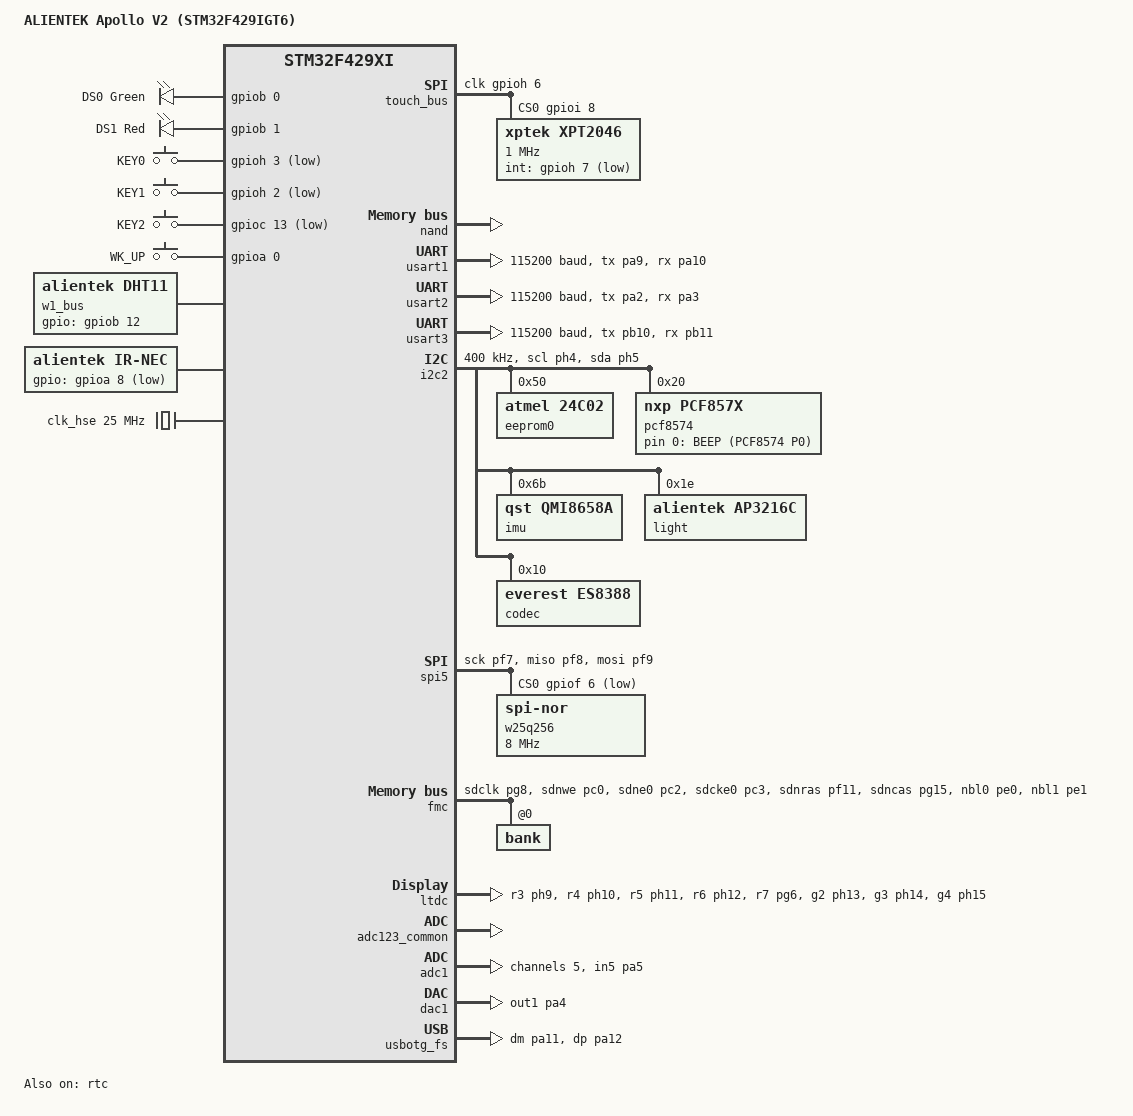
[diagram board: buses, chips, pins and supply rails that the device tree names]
/*
 * ALIENTEK Apollo V2 (阿波罗 V2) - STM32F429IGT6
 *
 * 引脚来源：docs/hardware/pinmap/阿波罗V2 STM32F429开发板IO引脚分配表.xlsx
 *            docs/hardware/sch/DNF429P_F767P_H743P V2.6.pdf（底板）
 *            docs/hardware/sch/STM32F429_CORE_V2.pdf（核心板）
 *
 * SPDX-License-Identifier: Apache-2.0
 */

/dts-v1/;

#include <st/f4/stm32f429Xi.dtsi>
#include <st/f4/stm32f429i(e-g)tx-pinctrl.dtsi>
#include <zephyr/dt-bindings/display/panel.h>
#include <zephyr/dt-bindings/input/input-event-codes.h>

/ {
	model = "ALIENTEK Apollo V2 (STM32F429IGT6)";
	compatible = "alientek,apollo-f429";

	chosen {
		zephyr,console = &usart1;
		zephyr,shell-uart = &usart1;
		zephyr,sram = &sram0;
		zephyr,flash = &flash0;
		zephyr,dtcm = &ccm0;
		zephyr,display = &ltdc;
		zephyr,touch = &xpt2046;
	};

	/* W9825G6KH：32MB，挂在 FMC SDRAM bank1（0xC0000000） */
	sdram1: sdram@c0000000 {
		compatible = "zephyr,memory-region", "mmio-sram";
		device_type = "memory";
		reg = <0xc0000000 DT_SIZE_M(32)>;
		zephyr,memory-region = "SDRAM1";
	};

	leds {
		compatible = "gpio-leds";

		green_led: led_0 {
			gpios = <&gpiob 0 GPIO_ACTIVE_HIGH>;
			label = "DS0 Green";
		};

		red_led: led_1 {
			gpios = <&gpiob 1 GPIO_ACTIVE_HIGH>;
			label = "DS1 Red";
		};
	};

	keys {
		compatible = "gpio-keys";

		key0: key_0 {
			label = "KEY0";
			gpios = <&gpioh 3 (GPIO_ACTIVE_LOW | GPIO_PULL_UP)>;
			zephyr,code = <INPUT_KEY_0>;
		};

		key1: key_1 {
			label = "KEY1";
			gpios = <&gpioh 2 (GPIO_ACTIVE_LOW | GPIO_PULL_UP)>;
			zephyr,code = <INPUT_KEY_1>;
		};

		key2: key_2 {
			label = "KEY2";
			gpios = <&gpioc 13 (GPIO_ACTIVE_LOW | GPIO_PULL_UP)>;
			zephyr,code = <INPUT_KEY_2>;
		};

		wkup: key_wkup {
			label = "WK_UP";
			gpios = <&gpioa 0 (GPIO_ACTIVE_HIGH | GPIO_PULL_DOWN)>;
			zephyr,code = <INPUT_KEY_WAKEUP>;
		};
	};

	aliases {
		led0 = &green_led;
		led1 = &red_led;
		sw0 = &key0;
		sw1 = &key1;
		sw2 = &key2;
		sw3 = &wkup;
	};

	/*
	 * 触摸：XPT2046（ATK-MD0430 / ATK-MD0700 模块原理图确认）
	 * T_SCK=PH6, T_MISO=PG3, T_MOSI=PI3, T_CS=PI8, T_PEN=PH7
	 * 这三个信号在 F429 上没有同一个硬件 SPI 复用，使用上游 spi-bitbang。
	 */
	touch_bus: spi-bitbang {
		compatible = "zephyr,spi-bitbang";
		status = "okay";
		clk-gpios = <&gpioh 6 GPIO_ACTIVE_HIGH>;
		sdi-gpios = <&gpiog 3 GPIO_ACTIVE_HIGH>;
		sdo-gpios = <&gpioi 3 GPIO_ACTIVE_HIGH>;
		cs-gpios = <&gpioi 8 GPIO_ACTIVE_HIGH>;
		#address-cells = <1>;
		#size-cells = <0>;

		xpt2046: xpt2046@0 {
			compatible = "xptek,xpt2046";
			reg = <0>;
			spi-max-frequency = <1000000>;
			int-gpios = <&gpioh 7 GPIO_ACTIVE_LOW>;
			touchscreen-size-x = <800>;
			touchscreen-size-y = <480>;
			min-x = <0>;
			min-y = <0>;
			max-x = <4095>;
			max-y = <4095>;
			z-threshold = <100>;
			reads = <4>;
		};
	};

	/*
	 * 8080 并口 TFTLCD：FMC bank1（NE1=PD7），RS=A18（PD13），D0..D15。
	 * 默认关闭：与本板 RGBLCD（LTDC）二选一；插 8080 模块时把 status 改 okay，
	 * 并把 chosen 的 zephyr,display 指向 &lcd8080。
	 */
	lcd8080: display@60000000 {
		compatible = "st,stm32-fmc-mipi-dbi";
		reg = <0x60000000 0x200000>;
		register-select-pin = <18>;
		#address-cells = <1>;
		#size-cells = <0>;
		status = "disabled";

		ili9341_8080: ili9341@0 {
			compatible = "ilitek,ili9341";
			reg = <0>;
			width = <240>;
			height = <320>;
			rotation = <0>;
			pixel-format = <PANEL_PIXEL_FORMAT_RGB_565>;
			/* 默认使用 LTDC 的 RGB 屏；8080 并口屏需手工改 status 并补 mipi 属性 */
			status = "disabled";
		};
	};
};

/* 1MB Flash（F429IGT6），非 2MB 的 XG 版本 */
&flash0 {
	reg = <0x08000000 DT_SIZE_K(1024)>;
	ranges = <0 0x08000000 DT_SIZE_K(1024)>;
};

/* 外部 25MHz 晶振（核心板 PH0/PH1） */
&clk_hse {
	clock-frequency = <DT_FREQ_M(25)>;
	status = "okay";
};

&clk_lsi {
	status = "okay";
};

/* HSE 25MHz -> PLL VCO 336MHz -> SYSCLK 168MHz / USB 48MHz */
&pll {
	div-m = <25>;
	mul-n = <336>;
	div-p = <2>;
	div-q = <7>;
	clocks = <&clk_hse>;
	status = "okay";
};

/* LTDC 像素时钟：25MHz * 384 = 384MHz VCO，R = /6，post = /2 -> 32MHz */
&pllsai {
	div-m = <25>;
	mul-n = <384>;
	div-r = <6>;
	post-div-r = <2>;
	clocks = <&clk_hse>;
	status = "okay";
};

&rcc {
	clocks = <&pll>;
	clock-frequency = <DT_FREQ_M(168)>;
	ahb-prescaler = <1>;
	apb1-prescaler = <4>;
	apb2-prescaler = <2>;
};

/* USART1 -> CH340 USB 串口（P11 跳线） */
&usart1 {
	pinctrl-0 = <&usart1_tx_pa9 &usart1_rx_pa10>;
	pinctrl-names = "default";
	current-speed = <115200>;
	status = "okay";
};

/* USART2 -> RS232 COM2 / RS485（P7、P8 跳线，与 YT8512C MDIO 共用 PA2） */
&usart2 {
	pinctrl-0 = <&usart2_tx_pa2 &usart2_rx_pa3>;
	pinctrl-names = "default";
	current-speed = <115200>;
	status = "okay";
};

/* USART3 -> RS232 COM3 / ATK-MODULE 接口 */
&usart3 {
	pinctrl-0 = <&usart3_tx_pb10 &usart3_rx_pb11>;
	pinctrl-names = "default";
	current-speed = <115200>;
	status = "okay";
};

&rtc {
	clocks = <&rcc STM32_CLOCK(APB1, 28)>,
		 <&rcc STM32_SRC_LSE RTC_SEL(1)>;
	status = "okay";
};

/*
 * IIC 总线 = I2C2（PH4=SCL / PH5=SDA），4.7K 上拉。
 * 挂载：24C02、PCF8574T、ES8388、QMI8658A、SPA06-003、AP3216C。
 */
&i2c2 {
	pinctrl-0 = <&i2c2_scl_ph4 &i2c2_sda_ph5>;
	pinctrl-names = "default";
	clock-frequency = <I2C_BITRATE_FAST>;
	status = "okay";

	eeprom0: eeprom@50 {
		compatible = "atmel,24c02";
		reg = <0x50>;
		size = <256>;
		status = "okay";
	};

	/* PCF8574T（A0/A1/A2 = GND，地址 0x20） */
	pcf8574: pcf8574@20 {
		compatible = "nxp,pcf857x";
		reg = <0x20>;
		gpio-controller;
		#gpio-cells = <2>;
		ngpios = <8>;
		status = "okay";
	};

	/* 六轴 QMI8658A（CS 上拉，SA0=1 -> 0x6B） */
	imu: qmi8658a@6b {
		compatible = "qst,qmi8658a";
		reg = <0x6b>;
		status = "okay";
	};

	/* 环境光/接近 AP3216C */
	light: ap3216c@1e {
		compatible = "alientek,ap3216c";
		reg = <0x1e>;
		status = "okay";
	};

	/* 音频编解码 ES8388（AD0=0 -> 0x10） */
	codec: es8388@10 {
		compatible = "everest,es8388";
		reg = <0x10>;
		status = "okay";
	};
};

/* PCF8574 扩展 IO 的用途（原理图 IO_EXPANDER 页） */
/ {
	beeper {
		compatible = "gpio-leds";
		buzzer: beep {
			gpios = <&pcf8574 0 GPIO_ACTIVE_HIGH>;
			label = "BEEP (PCF8574 P0)";
		};
	};
};

/*
 * SPI5：W25Q256（PF6=CS, PF7=SCK, PF8=MISO, PF9=MOSI）
 * 注意 W25Q256 为 32MB，超过 16MB 需要 4 字节地址模式。
 */
&spi5 {
	pinctrl-0 = <&spi5_sck_pf7 &spi5_miso_pf8 &spi5_mosi_pf9>;
	pinctrl-names = "default";
	cs-gpios = <&gpiof 6 GPIO_ACTIVE_LOW>;
	status = "okay";

	w25q256: flash@0 {
		compatible = "jedec,spi-nor";
		reg = <0>;
		spi-max-frequency = <8000000>;
		size = <DT_SIZE_M(32)>;
		status = "okay";
	};
};

/*
 * FMC：SDRAM + 8080 屏 + NAND 共用数据/地址总线。
 * 片选独立：SDRAM SDNE0(PC2)，LCD NE1(PD7)，NAND NCE2(PG9)。
 */
&fmc {
	status = "okay";
	pinctrl-0 = <
		&fmc_sdclk_pg8 &fmc_sdnwe_pc0 &fmc_sdne0_pc2 &fmc_sdcke0_pc3
		&fmc_sdnras_pf11 &fmc_sdncas_pg15
		&fmc_nbl0_pe0 &fmc_nbl1_pe1
		&fmc_a0_pf0 &fmc_a1_pf1 &fmc_a2_pf2 &fmc_a3_pf3
		&fmc_a4_pf4 &fmc_a5_pf5 &fmc_a6_pf12 &fmc_a7_pf13
		&fmc_a8_pf14 &fmc_a9_pf15 &fmc_a10_pg0 &fmc_a11_pg1
		&fmc_a12_pg2 &fmc_a14_pg4 &fmc_a15_pg5
		&fmc_d0_pd14 &fmc_d1_pd15 &fmc_d2_pd0 &fmc_d3_pd1
		&fmc_d4_pe7 &fmc_d5_pe8 &fmc_d6_pe9 &fmc_d7_pe10
		&fmc_d8_pe11 &fmc_d9_pe12 &fmc_d10_pe13 &fmc_d11_pe14
		&fmc_d12_pe15 &fmc_d13_pd8 &fmc_d14_pd9 &fmc_d15_pd10
		&fmc_noe_pd4 &fmc_nwe_pd5 &fmc_nwait_pd6
		&fmc_ne1_pd7 &fmc_a18_pd13
		&fmc_a16_pd11 &fmc_a17_pd12
		&nand_cs_pg9>;
	pinctrl-names = "default";

	sdram {
		status = "okay";
		power-up-delay = <100>;
		num-auto-refresh = <8>;
		/* CAS latency 3, burst read/write, sequential */
		mode-register = <0x230>;
		/* 64ms / 8192 rows @ 84MHz SDCLK - 20 */
		refresh-rate = <636>;

		bank@0 {
			reg = <0>;
			/* NC=9, NR=13, 16bit, 4 banks, CAS3, SDCLK=HCLK/2 */
			st,sdram-control = <STM32_FMC_SDRAM_NC_9
					    STM32_FMC_SDRAM_NR_13
					    STM32_FMC_SDRAM_MWID_16
					    STM32_FMC_SDRAM_NB_4
					    STM32_FMC_SDRAM_CAS_3
					    STM32_FMC_SDRAM_SDCLK_PERIOD_2
					    STM32_FMC_SDRAM_RBURST_ENABLE
					    STM32_FMC_SDRAM_RPIPE_0>;
			/* TMRD TXSR TRAS TRC TWP TRP TRCD */
			st,sdram-timing = <2 6 4 6 2 2 2>;
		};
	};
};

/*
 * NAND MT29F4G08（4Gbit，8 位，FMC NAND bank2 = 0x70000000，NCE2=PG9）
 * 上游没有 FMC NAND 驱动，由本项目 modules/apollo_f429/drivers/mt29f4g08 接管。
 */
/ {
	nand: nand@70000000 {
		compatible = "alientek,mt29f4g08";
		reg = <0x70000000 0x20000000>;
		status = "okay";
	};
};

/*
 * RGBLCD（LTDC 直驱）：R3-R7 / G2-G7 / B3-B7 = RGB565
 * 背光 PB5（高有效）
 */
&ltdc {
	pinctrl-0 = <
		&ltdc_r3_ph9 &ltdc_r4_ph10 &ltdc_r5_ph11 &ltdc_r6_ph12 &ltdc_r7_pg6
		&ltdc_g2_ph13 &ltdc_g3_ph14 &ltdc_g4_ph15 &ltdc_g5_pi0
		&ltdc_g6_pi1 &ltdc_g7_pi2
		&ltdc_b3_pg11 &ltdc_b4_pi4 &ltdc_b5_pi5 &ltdc_b6_pi6 &ltdc_b7_pi7
		&ltdc_de_pf10 &ltdc_clk_pg7 &ltdc_hsync_pi10 &ltdc_vsync_pi9>;
	pinctrl-names = "default";
	ext-sdram = <&sdram1>;
	bl-ctrl-gpios = <&gpiob 5 GPIO_ACTIVE_HIGH>;
	status = "okay";

	width = <800>;
	height = <480>;
	/* Zephyr 4.5 的 LTDC 驱动只接受 RGB888（面板格式枚举值 1） */
	pixel-format = <1>;
	def-back-color-red = <0>;
	def-back-color-green = <0>;
	def-back-color-blue = <0>;

	/* 800x480@60 典型时序，按实际屏模块微调 */
	display-timings {
		compatible = "zephyr,panel-timing";
		de-active = <1>;
		pixelclk-active = <0>;
		hsync-active = <0>;
		vsync-active = <0>;
		hsync-len = <48>;
		vsync-len = <3>;
		hback-porch = <88>;
		vback-porch = <32>;
		hfront-porch = <40>;
		vfront-porch = <13>;
	};
};

/* ADC1_IN5 = PA5，板上做 TPAD / 光敏检测 */
/* F429 的 ADC1/2/3 共用一个 adc123_common 父节点（公共时钟/采样参数），
 * 上游 dtsi 默认把它关掉，必须与子节点一起打开，否则 ADC_STM32 驱动不会被选中。
 */
&adc123_common {
	status = "okay";
	/* APB2 = 84 MHz，4 分频 → 21 MHz，满足 F4 ADC 最大 36 MHz 限制 */
	st,adc-prescaler = <4>;
};

&adc1 {
	pinctrl-0 = <&adc1_in5_pa5>;
	pinctrl-names = "default";
	#address-cells = <1>;
	#size-cells = <0>;
	status = "okay";

	channel@5 {
		reg = <5>;
		zephyr,gain = "ADC_GAIN_1";
		zephyr,reference = "ADC_REF_INTERNAL";
		zephyr,acquisition-time = <ADC_ACQ_TIME_DEFAULT>;
		zephyr,input-positive = <5>;
		zephyr,resolution = <12>;
	};
};

/* DAC1_OUT1 = PA4（STM_DAC / ATK-MODULE LED 复用） */
&dac1 {
	pinctrl-0 = <&dac_out1_pa4>;
	pinctrl-names = "default";
	status = "okay";
};

/* CAN1：PA11=RX / PA12=TX（与 USB 通过 P9 跳线二选一） */
&can1 {
	pinctrl-0 = <&can1_rx_pa11 &can1_tx_pa12>;
	pinctrl-names = "default";
	status = "disabled";
};

/* USB OTG FS 设备口（TYPE-C / MiniUSB，P9 选择 USB） */
zephyr_udc0: &usbotg_fs {
	pinctrl-0 = <&usb_otg_fs_dm_pa11 &usb_otg_fs_dp_pa12>;
	pinctrl-names = "default";
	status = "okay";
};

/* 1-Wire / DHT11-DS18B20 单总线（PB12） */
/ {
	w1_bus: w1-gpio {
		compatible = "alientek,dht11";
		gpios = <&gpiob 12 (GPIO_ACTIVE_HIGH | GPIO_PULL_UP)>;
		status = "okay";
	};

	/* LF0038 红外接收头（PA8，低有效） */
	ir: ir-nec {
		compatible = "alientek,ir-nec";
		gpios = <&gpioa 8 GPIO_ACTIVE_LOW>;
		status = "okay";
	};
};

&pinctrl {
	/* NAND 片选 NCE2 = PG9（AF12），生成脚本只给了 fmc_ne2_pg9 标签 */
	nand_cs_pg9: nand_cs_pg9 {
		pinmux = <STM32_PINMUX('G', 9, AF12)>;
		slew-rate = "very-high-speed";
	};
};
